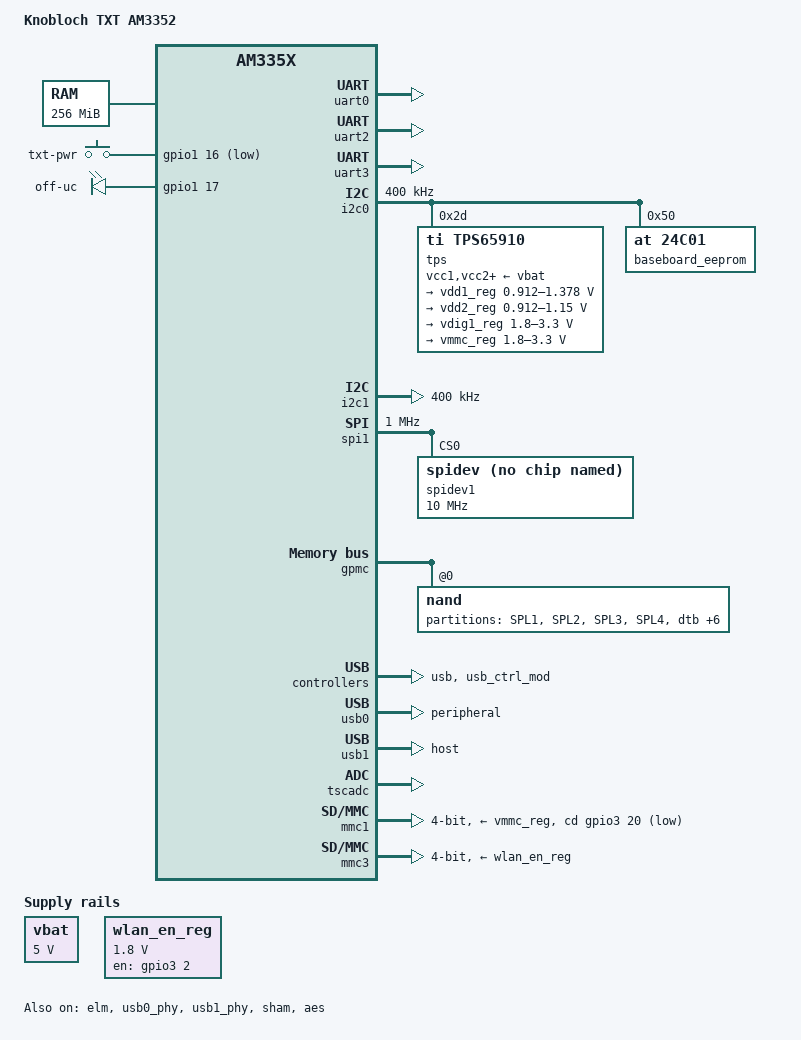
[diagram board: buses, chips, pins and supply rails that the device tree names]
/*
 * Copyright (C) 2012 Texas Instruments Incorporated - http://www.ti.com/
 *
 * This program is free software; you can redistribute it and/or modify
 * it under the terms of the GNU General Public License version 2 as
 * published by the Free Software Foundation.
 */

/*
 * AM335x Starter Kit
 * http://www.ti.com/tool/tmdssk3358
 */

/dts-v1/;

#include "am33xx.dtsi"
#include <dt-bindings/interrupt-controller/irq.h> 
#include <dt-bindings/pwm/pwm.h>


/ {
	model = "Knobloch TXT AM3352";
	compatible = "ti,am335x-evm", "ti,am33xx", "ti,am335x-kno_txt";

	cpus {
		cpu@0 {
			cpu0-supply = <&vdd1_reg>;
		};
	};

	memory {
		device_type = "memory";
		reg = <0x80000000 0x10000000>; /* 256 MB */
	};


        wlcore {
                compatible = "wlcore";  
                gpio = <28>; /* Bank0, pin28 */

                /*
                 * TODO: use edge irqs for suspend/resume.
                 * in newer kerenls, we seem to miss interrupts when
                 * working with edge irqs, so revert back to level irqs.
                 */
                platform-quirks = <1>;

                /* if a 12xx card is there, configure the clock to
                   WL12XX_REFCLOCK_38_XTAL */
                board-ref-clock = <4>;
        };



        kim {
                compatible = "kim";
                nshutdown_gpio = <97>;  /* Bank3, pin1 */
                dev_name = "/dev/ttyO3";
                flow_cntrl = <1>;
                baud_rate = <3000000>;
        };

        btwilink {
                compatible = "btwilink";
        };


        gpio_buttons: gpio_buttons@0 {
                compatible = "gpio-keys";
                #address-cells = <1>;
                #size-cells = <0>;

                switch@1 {
                        label = "txt-pwr";
			gpio-key,wakeup = <1>;
                        linux,code = <59>; /* F1 */
                        gpios = <&gpio1 16 GPIO_ACTIVE_LOW>;
                };

        };

	leds {
		compatible = "gpio-leds";
		led@1 {
			label = "off-uc";
			gpios = <&gpio1 17 0>;
			default-state = "off";
		};
	};

	am33xx_pinmux: pinmux@44e10800 {
		pinctrl-names = "default";
		pinctrl-0 = <&ddr3_vtt_toggle &wlan_pins &io_pins>;

		ddr3_vtt_toggle: ddr3_vtt_toggle {
			pinctrl-single,pins = <
				0x1ac (PIN_OUTPUT | MUX_MODE7)	/* <DDR-VTT-EN> mcasp0_ahclkx.gpio3_21 */
			>;
		};

		io_pins: pinmux_io_pins {
			pinctrl-single,pins = <
				0x160 (PIN_INPUT | MUX_MODE0)	/* <TP1> spi0_cs1.gpio0_6 */
				0x1a0 (PIN_OUTPUT | MUX_MODE7)	/* <!M3-RESET> mcasp0_aclkr.gpio3_18 */
				0x1a4 (PIN_OUTPUT | MUX_MODE7)	/* <M3-BOOT0> mcasp0_fsr.gpio3_19 */
				0x040 (PIN_INPUT | MUX_MODE7)	/* <ON-INT> gpmc_a0.gpio1_16 */
				0x044 (PIN_OUTPUT | MUX_MODE7)	/* <OFF-UC> gpmc_a1.gpio1_17 */
				/* TP 19 - 22 */
                                0x180 (PIN_OUTPUT_PULLDOWN | MUX_MODE7) /* uart1_rxd.gpio0_14 */
                                0x184 (PIN_OUTPUT_PULLDOWN | MUX_MODE7) /* uart1_txd.gpio0_15 */
                                0x178 (PIN_OUTPUT_PULLDOWN | MUX_MODE7) /* uart1_ctsn.gpio0_12 */
                                0x17c (PIN_OUTPUT_PULLDOWN | MUX_MODE7) /* uart1_rtsn.gpio0_13 */
			>;
		};

		i2c0_pins: pinmux_i2c0_pins {
			pinctrl-single,pins = <
				0x188 (PIN_INPUT | MUX_MODE0)	/* i2c0_sda.i2c0_sda */
				0x18c (PIN_INPUT | MUX_MODE0)	/* i2c0_scl.i2c0_scl */
			>;
		};

		i2c1_pins: pinmux_i2c1_pins {
			pinctrl-single,pins = <
				0x158 (PIN_INPUT_PULLUP | MUX_MODE2)	/* spi0_d1.i2c1_sda */
				0x15c (PIN_INPUT_PULLUP | MUX_MODE2)	/* spi0_cs0.i2c1_scl */
			>;
		};

		spi1_pins: pinmux_spi1_pins {
			pinctrl-single,pins = <
				0x190 (PIN_INPUT_PULLUP | MUX_MODE3)	/* mcasp0_aclkx.spi1_sclk */
				0x194 (PIN_OUTPUT_PULLUP | MUX_MODE3)	/* mcasp0_fsx.spi1_d0 */
				0x198 (PIN_INPUT_PULLUP | MUX_MODE3)	/* mcasp0_axr0.spi1_d1 */
				0x19c (PIN_OUTPUT_PULLUP | MUX_MODE3)	/* mcasp0_ahclrk.spi1_cs0 */
			>;
		};

		uart0_pins: pinmux_uart0_pins {
			pinctrl-single,pins = <
				0x170 (PIN_INPUT_PULLUP | MUX_MODE0)	/* uart0_rxd.uart0_rxd */
				0x174 (PIN_OUTPUT_PULLDOWN | MUX_MODE0)	/* uart0_txd.uart0_txd */
			>;
		};

		uart2_pins_default: pinmux_uart2_pins_default {
			pinctrl-single,pins = <
				0x150 (PIN_INPUT_PULLUP | MUX_MODE1)	/* spi0_sclk.uart2_rxd */
				0x154 (PIN_OUTPUT_PULLDOWN | MUX_MODE1)	/* spi0_d0.uart2_txd */
			>;
		};


		uart2_pins_sleep: pinmux_uart2_pins_sleep {
			pinctrl-single,pins = <
				0x150 (PIN_INPUT_PULLDOWN | MUX_MODE7)	
				0x154 (PIN_INPUT_PULLDOWN | MUX_MODE7)	
			>;
		};



                uart3_pins_default: pinmux_uart3_pins_default {
                        pinctrl-single,pins = <
                                0x148 (PIN_INPUT | MUX_MODE3)		/* mdi0.uart3_ctsn */
                                0x14C (PIN_OUTPUT_PULLDOWN | MUX_MODE3)	/* mdc.uart3_rtsn */
                                0x134 (PIN_INPUT | MUX_MODE1)	/* mii1_rxd3.uart3_rxd */
                                0x138 (PIN_OUTPUT | MUX_MODE1)	/* mii1_rxd2.uart3_txd */
                        >;
                };

                uart3_pins_sleep: pinmux_uart3_pins_sleep {
                        pinctrl-single,pins = <
                                0x148 (PIN_INPUT_PULLDOWN | MUX_MODE7)
                                0x14C (PIN_INPUT_PULLDOWN | MUX_MODE7)
                                0x134 (PIN_INPUT_PULLDOWN | MUX_MODE7)
                                0x138 (PIN_INPUT_PULLDOWN | MUX_MODE7)
                        >;
                };

                mmc1_pins_default: pinmux_mmc1_pins {
                        pinctrl-single,pins = <
                                0x0F0 (PIN_INPUT_PULLUP | MUX_MODE0)    /* mmc0_dat3.mmc0_dat3 */ 
                                0x0F4 (PIN_INPUT_PULLUP | MUX_MODE0)    /* mmc0_dat2.mmc0_dat2 */ 
                                0x0F8 (PIN_INPUT_PULLUP | MUX_MODE0)    /* mmc0_dat1.mmc0_dat1 */
                                0x0FC (PIN_INPUT_PULLUP | MUX_MODE0)    /* mmc0_dat0.mmc0_dat0 */
                                0x100 (PIN_INPUT_PULLUP | MUX_MODE0)    /* mmc0_clk.mmc0_clk */
                                0x104 (PIN_INPUT_PULLUP | MUX_MODE0)    /* mmc0_cmd.mmc0_cmd */
				0x1A8 (PIN_INPUT | MUX_MODE7) /* mcasp0_axr1.gpio3_20 */
                        >;
                };

                mmc1_pins_sleep: pinmux_mmc1_pins_sleep {
                        pinctrl-single,pins = <
                                0x0F0 (PIN_INPUT_PULLDOWN | MUX_MODE7)
                                0x0F4 (PIN_INPUT_PULLDOWN | MUX_MODE7)
                                0x0F8 (PIN_INPUT_PULLDOWN | MUX_MODE7)
                                0x0FC (PIN_INPUT_PULLDOWN | MUX_MODE7)
                                0x100 (PIN_INPUT_PULLDOWN | MUX_MODE7)
                                0x104 (PIN_INPUT_PULLDOWN | MUX_MODE7)
				0x1A8 (PIN_INPUT | MUX_MODE7)	/* mcasp0_axr1.gpio3_20 */
                        >;
                };


	        mmc3_pins_default: pinmux_mmc3_pins { 
        		pinctrl-single,pins = < 
				0x118 (PIN_INPUT_PULLUP | MUX_MODE5)	/* mii1_rx_dv.mmc2_dat0, INPUT_PULLUP | MODE5 */
				0x11C (PIN_INPUT_PULLUP | MUX_MODE5)	/* mii1_txd3.mmc2_dat1, INPUT_PULLUP | MODE5 */
				0x120 (PIN_INPUT_PULLUP | MUX_MODE5)	/* mii1_txd2.mmc2_dat2, INPUT_PULLUP | MODE5 */
				0x108 (PIN_INPUT_PULLUP | MUX_MODE5)	/* mii1_col.mmc2_dat3, INPUT_PULLUP | MODE5 */
				0x114 (PIN_INPUT_PULLUP | MUX_MODE6)	/* mii1_tx_en.mmc2_cmd, INPUT_PULLUP | MODE6 */
				0x13C (PIN_INPUT_PULLUP | MUX_MODE6)	/* mii1_rxd1.mmc2_clk, INPUT_PULLUP | MODE6 */
			>;
		};

	        mmc3_pins_sleep: pinmux_mmc3_pins_sleep { 
        		pinctrl-single,pins = < 
				0x118 (PIN_INPUT_PULLDOWN | MUX_MODE7)	
				0x11C (PIN_INPUT_PULLDOWN | MUX_MODE7)
				0x120 (PIN_INPUT_PULLDOWN | MUX_MODE7)
				0x108 (PIN_INPUT_PULLDOWN | MUX_MODE7)
				0x114 (PIN_INPUT_PULLDOWN | MUX_MODE7)
				0x13C (PIN_INPUT_PULLDOWN | MUX_MODE7)
			>;
		};

		usb_pins: pinmux_usb_pins {
			pinctrl-single,pins = <
				0x21C 0x00	/* usb0_drvvbus.usb0_drvvbus, OUTPUT | MODE0 */
				0x234 0x00	/* usb1_drvvbus.usb1_drvvbus, OUTPUT | MODE0 */
			>;
		};

		/* wl12xx/wl18xx card on mmc3 */
	        wlan_pins: pinmux_wlan_pins { 
        		pinctrl-single,pins = < 
                		0x110 (PIN_OUTPUT_PULLDOWN | MUX_MODE7)	/* mii1_rx_er.gpio3_2 (WL_EN) */ 
		                0x128 (PIN_INPUT | MUX_MODE7)	/* mii1_txd0.gpio0_28 (WLAN_IRQ) */ 
		                0x10C (PIN_OUTPUT_PULLUP | MUX_MODE7)	/* mii1_crs.gpio3_1 (BT_EN) */ 
			>;
		};


		nandflash_pins_s0: nandflash_pins_s0 {
 			pinctrl-single,pins = <
		 	0x0 0x30 /* gpmc_ad0.gpmc_ad0, INPUT | PULLUP | MODE0 */
		 	0x4 0x30 /* gpmc_ad1.gpmc_ad1, INPUT | PULLUP | MODE0 */
		 	0x8 0x30 /* gpmc_ad2.gpmc_ad2, INPUT | PULLUP | MODE0 */
	 		0xc 0x30 /* gpmc_ad3.gpmc_ad3, INPUT | PULLUP | MODE0 */
		 	0x10 0x30 /* gpmc_ad4.gpmc_ad4, INPUT | PULLUP | MODE0 */
		 	0x14 0x30 /* gpmc_ad5.gpmc_ad5, INPUT | PULLUP | MODE0 */
		 	0x18 0x30 /* gpmc_ad6.gpmc_ad6, INPUT | PULLUP | MODE0 */
		 	0x1c 0x30 /* gpmc_ad7.gpmc_ad7, INPUT | PULLUP | MODE0 */
		 	0x70 0x30 /* gpmc_wait0.gpmc_wait0, INPUT | PULLUP | MODE0 */
		 	0x74 0x37 /* gpmc_wpn.gpio0_30, INPUT | PULLUP | MODE7 */
		 	0x7c 0x8 /* gpmc_csn0.gpmc_csn0, PULL DISA */
		 	0x90 0x8 /* gpmc_advn_ale.gpmc_advn_ale, PULL DISA */
		 	0x94 0x8 /* gpmc_oen_ren.gpmc_oen_ren, PULL DISA */
		 	0x98 0x8 /* gpmc_wen.gpmc_wen, PULL DISA */
		 	0x9c 0x8 /* gpmc_be0n_cle.gpmc_be0n_cle, PULL DISA */
		 	>;
	 	};

	};

	ocp {
		uart0: serial@44e09000 {
			pinctrl-names = "default";
			pinctrl-0 = <&uart0_pins>;

			status = "okay";
		};

		uart2: serial@48024000 {
			pinctrl-names = "default", "sleep";
			pinctrl-0 = <&uart2_pins_default>;
			pinctrl-1 = <&uart2_pins_sleep>;

			status = "okay";
		};

		uart3: serial@481a6000 {
			pinctrl-names = "default", "sleep";
			pinctrl-0 = <&uart3_pins_default>;
			pinctrl-1 = <&uart3_pins_sleep>;

			status = "okay";
		};

		i2c0: i2c@44e0b000 {
			pinctrl-names = "default";
			pinctrl-0 = <&i2c0_pins>;

			status = "okay";
			clock-frequency = <400000>;



                        /* Set OPP50 (0.95V) for VDD core */
                        sleep-sequence = /bits/ 8 <
                                0x02 0x2d 0x25 0x1f /* Set VDD2 to 0.95V */
                        >;

                        /* Set OPP100 (1.10V) for VDD core */
                        wake-sequence = /bits/ 8 <
                                0x02 0x2d 0x25 0x2b /* Set VDD2 to 1.1V */
                        >;

			tps: tps@2d {
				reg = <0x2d>;
			};

			baseboard_eeprom: baseboard_eeprom@50 {
				compatible = "at,24c01";
				reg = <0x50>;
			};

		};


		i2c1: i2c@4802a000 {
			pinctrl-names = "default";
			pinctrl-0 = <&i2c1_pins>;

			status = "okay";
			clock-frequency = <400000>;

		};


		spi1: spi@481a0000 {
			pinctrl-names = "default";
			pinctrl-0 = <&spi1_pins>;

			clock-frequency = <1000000>;
			ti,pindir-d0-out-d1-in;
			status = "okay";
			spidev1:spidev@1{
				compatible = "spidev";
				reg = <0>;
				spi-max-frequency = <10000000>;
			};
		};


	};

	vbat: fixedregulator@0 {
		compatible = "regulator-fixed";
		regulator-name = "vbat";
		regulator-min-microvolt = <5000000>;
		regulator-max-microvolt = <5000000>;
		regulator-boot-on;
	};

	wlan_en_reg: fixedregulator@1 { 
        	compatible = "regulator-fixed"; 
		regulator-name = "wlan-en-regulator"; 
		regulator-min-microvolt = <1800000>; 
		regulator-max-microvolt = <1800000>; 
		gpio = <&gpio3 2 0>; 
		startup-delay-us = <70000>; 
		enable-active-high; 
		regulator-boot-on;
	}; 

};


&elm {
	status = "okay";
     };

&gpmc {
	 	status = "okay";
	 	pinctrl-names = "default";
	 	pinctrl-0 = <&nandflash_pins_s0>;
	 	ranges = <0 0 0x08000000 0x10000000>; /* CS0: NAND */
	 	nand@0,0 {
	 	reg = <0 0 0>; /* CS0, offset 0 */
	 	nand-bus-width = <8>;
	 	ti,nand-ecc-opt = "bch8";
	 	gpmc,device-nand = "true";
	 	gpmc,device-width = <1>;
	 	gpmc,sync-clk-ps = <0>;
	 	gpmc,cs-on-ns = <0>;
	 	gpmc,cs-rd-off-ns = <44>;
	 	gpmc,cs-wr-off-ns = <44>;
	 	gpmc,adv-on-ns = <6>;
	 	gpmc,adv-rd-off-ns = <34>;
	 	gpmc,adv-wr-off-ns = <44>;
	 	gpmc,we-on-ns = <0>;
	 	gpmc,we-off-ns = <40>;
	 	gpmc,oe-on-ns = <0>;
	 	gpmc,oe-off-ns = <54>;
	 	gpmc,access-ns = <64>;
	 	gpmc,rd-cycle-ns = <82>;
	 	gpmc,wr-cycle-ns = <82>;
	 	gpmc,wait-on-read = "true";
	 	gpmc,wait-on-write = "true";
	 	gpmc,bus-turnaround-ns = <0>;
	 	gpmc,cycle2cycle-delay-ns = <0>;
	 	gpmc,clk-activation-ns = <0>;
	 	gpmc,wait-monitoring-ns = <0>;
	 	gpmc,wr-access-ns = <40>;
	 	gpmc,wr-data-mux-bus-ns = <0>;
	 	
	 	#address-cells = <1>;
	 	#size-cells = <1>;
	 	ti,elm-id = <&elm>;
	 	
	 	/* MTD partition table */
	 	partition@0 {
		 	label = "SPL1";
		 	reg = <0x00000000 0x000020000>;
	 		};
	 	
	 	partition@1 {
		 	label = "SPL2";
		 	reg = <0x00020000 0x00020000>;
	 		};
	 	
	 	partition@2 {
		 	label = "SPL3";
		 	reg = <0x00040000 0x00020000>;
	 		};
	 	
	 	partition@3 {
		 	label = "SPL4";
		 	reg = <0x00060000 0x00020000>;
	 		};
		
	 	partition@4 {
	 		label = "dtb";
			reg = <0x00080000 0x00040000>;
 			};
 	
	 	partition@5 {
		 	label = "U-boot";
		 	reg = <0x000c0000 0x00100000>;
	 		};
	 	
	 	partition@6 {
		 	label = "U-boot-env";
		 	reg = <0x001c0000 0x00020000>;
	 		};
	 	
	 	partition@7 {
		 	label = "U-boot-env-backup";
		 	reg = <0x001E0000 0x00020000>;
	 		};
	 	
	 	partition@8 {
		 	label = "uImage";
		 	reg = <0x00200000 0x00500000>;
	 		};

	 	partition@9 {
		 	label = "bootlogo";
		 	reg = <0x00700000 0x00040000>;
	 		};

	 	partition@10 {
		 	label = "rootfs";
		 	reg = <0x00740000 0x078C0000>;
	 		};
 		};
	};



&usb {
	status = "okay";
	pinctrl-names = "default";
	pinctrl-0 = <&usb_pins>;

};

&usb_ctrl_mod {
	status = "okay";
};

&usb0_phy {
	status = "okay";
};

&usb1_phy {
	status = "okay";
};

&usb0 {
	status = "okay";
	dr_mode = "peripheral";
};

&usb1 {
	status = "okay";
	dr_mode = "host";
};

&cppi41dma  {
	status = "okay";
};

#include "tps65910.dtsi"

&tps {
	compatible = "ti,tps65910";

	interrupt-parent = <&intc>;
        interrupts = < 0 6 0x04 >;

	#gpio-cells = <2>;
	gpio-controller;

	#interrupt-cells = <2>;
	interrupt-controller;
	ti,en-ck32k-xtal;


	vcc1-supply = <&vbat>;
	vcc2-supply = <&vbat>;
	vcc3-supply = <&vbat>;
	vcc4-supply = <&vbat>;
	vcc5-supply = <&vbat>;
	vcc6-supply = <&vbat>;
	vcc7-supply = <&vbat>;
	vccio-supply = <&vbat>;

	regulators {
		vrtc_reg: regulator@0 {
			regulator-always-on;
		};

		vio_reg: regulator@1 {
			regulator-always-on;
		};

		vdd1_reg: regulator@2 {
			/* VDD_MPU voltage limits 0.95V - 1.325V with +/-4% tolerance */
			regulator-name = "vdd_mpu";
			regulator-min-microvolt = <912500>;
			regulator-max-microvolt = <1378000>;
			regulator-boot-on;
			regulator-always-on;
		};

		vdd2_reg: regulator@3 {
			/* VDD_CORE voltage limits 0.95V - 1.1V with +/-4% tolerance */
			regulator-name = "vdd_core";
			regulator-min-microvolt = <912500>;
			regulator-max-microvolt = <1150000>;
			regulator-boot-on;
			regulator-always-on;
		};

		vdd3_reg: regulator@4 {
			regulator-always-on;
		};

		vdig1_reg: regulator@5 {
		        regulator-name = "vmmc_reg"; 
			regulator-min-microvolt = <1800000>;
			regulator-max-microvolt = <3300000>;
			regulator-always-on;
		};

		vdig2_reg: regulator@6 {
			regulator-always-on;
		};

		vpll_reg: regulator@7 {
			regulator-always-on;
		};

		vdac_reg: regulator@8 {
			regulator-always-on;
		};

		vaux1_reg: regulator@9 {
			regulator-always-on;
		};

		vaux2_reg: regulator@10 {
			regulator-always-on;
		};

		vaux33_reg: regulator@11 {
			regulator-always-on;
		};

		vmmc_reg: regulator@12 {
		        /*regulator-name = "vmmc_reg";*/ 
			regulator-min-microvolt = <1800000>;
			regulator-max-microvolt = <3300000>;
			regulator-always-on;
		};
	};
};

&tscadc {
	status = "okay";
	tsc {
		ti,wires = <4>;
		ti,x-plate-resistance = <200>;
		ti,coordinate-readouts = <5>;
		ti,wire-config = <0x00 0x11 0x22 0x33>;
	};
};

&gpio0 {
	ti,no-reset-on-init;
};

&gpio3 {
	ti,no-reset-on-init;
};

&mmc1 {
        status = "okay";  
        vmmc-supply = <&vmmc_reg>;
        /*vmmc-supply = <&vdig1_reg>;*/
        bus-width = <4>;
        pinctrl-names = "default", "sleep";
        pinctrl-0 = <&mmc1_pins_default>;
        pinctrl-1 = <&mmc1_pins_sleep>;
	cd-gpios = <&gpio3 20 GPIO_ACTIVE_LOW>;
};

&edma {
	/* Map eDMA MMC2 Events from Crossbar */
	ti,edma-xbar-event-map = /bits/ 16  <1 12
				   2 13>;
};

&mmc3 {
        /* these are on the crossbar and are outlined in the
        xbar-event-map element */
        dmas = <&edma 12
                &edma 13>;
        dma-names = "tx", "rx";   

        status = "okay";
        vmmc-supply = <&wlan_en_reg>;  
        bus-width = <4>;
		pinctrl-names = "default", "sleep";
		pinctrl-0 = <&mmc3_pins_default>;
		pinctrl-1 = <&mmc3_pins_sleep>;

        ti,non-removable;
        ti,needs-special-hs-handling;
        /*cap-power-off-card;*/
        keep-power-in-suspend;
};

&sham {
        status = "okay";
};

&aes {
        status = "okay";
};


&lcdc {	
	clocks = <&lcd_gclk>;
	clock-names = "fck";
	status = "disabled";
	ti,no-idle-on-init;
};
